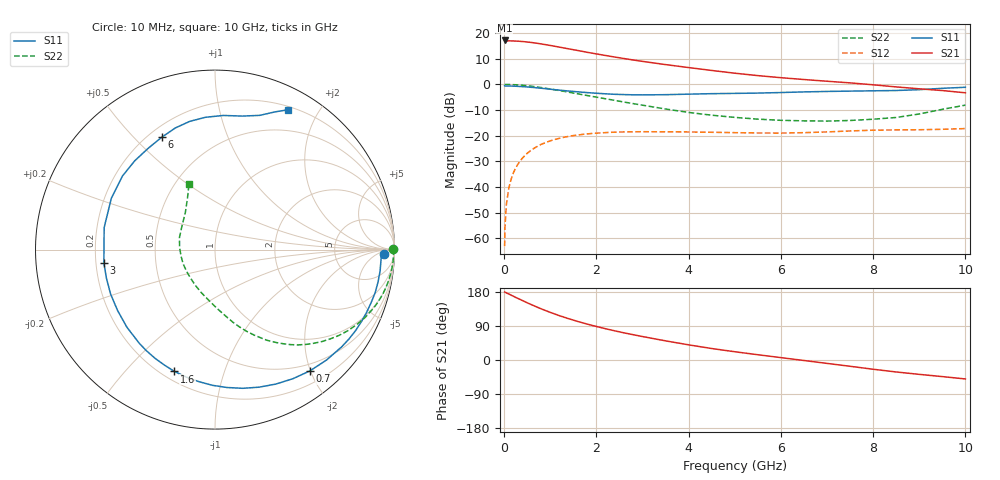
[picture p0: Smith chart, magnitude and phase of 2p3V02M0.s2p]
! (c) 2009  Infineon Technologies AG, Munich
! Infineon Technologies  Discrete & RF Semiconductors
! BFP420
! VCE =  3.0 V,  IC =  2.0 mA
! Common Emitter S-Parameters:  Nov 2009
# GHz  S  MA  R  50
!  f  S11  S21  S12  S22
! GHz  MAG  ANG  MAG  ANG  MAG  ANG  MAG  ANG
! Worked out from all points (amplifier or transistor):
!   46 points, 10 MHz to 10 GHz, reference 50 ohm
!   highest |S21| = 17.1 dB at 10 MHz (marker M1)
!   |S21| within 3 dB of that: start of sweep to 1.318 GHz
!   unconditionally stable (mu >= 1): 3.918 GHz to end of sweep
!   at 300 MHz: K = 0.04, MSG = 24.0 dB, |S12| = -31.1 dB
!   at 1.7 GHz: K = 0.35, MSG = 16.2 dB, |S12| = -19.5 dB
!   at 10 GHz: K = 1.22, MAG = 4.2 dB, |S12| = -17.2 dB
!   lowest NFmin = 0.53 dB at 900 MHz
!   S11 on the Smith chart (normalised r, x): 10 MHz: 28, -11; 700 MHz: 0.39, -1.99; 1.6 GHz: 0.25, -0.69; 3 GHz: 0.23, -0.06; 6 GHz: 0.25, +0.61; 10 GHz: 0.24, +1.62
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0.01  0.9409 -1.4  7.183 179.2  0.0007 71.6  0.9945 0.1
0.02  0.9275 -1.6  6.99 179.0  0.0018 82.2  0.9948 -0.8
0.05  0.9267 -3.7  7.024 177.0  0.0047 86.4  0.9949 -2.0
0.15  0.9261 -11.3  7.048 171.2  0.0141 83.4  0.9907 -6.3
0.3  0.914 -22.7  6.954 162.4  0.0279 77.1  0.9753 -12.5
0.45  0.8974 -33.7  6.777 153.9  0.0411 70.8  0.9506 -18.5
0.7  0.8582 -51.9  6.361 140.3  0.0605 60.9  0.8933 -27.9
0.9  0.8225 -65.6  5.945 130.3  0.0735 53.6  0.84 -34.7
1.1  0.7881 -78.7  5.527 121.3  0.0843 47.1  0.7847 -40.8
1.4  0.7408 -97.1  4.926 108.9  0.0969 38.4  0.7034 -49.0
1.6  0.7154 -108.4  4.565 101.5  0.1031 33.4  0.6529 -53.6
1.7  0.702 -113.8  4.397 98.2  0.1058 31.0  0.6293 -55.8
2.2  0.6542 -138.6  3.656 82.5  0.1148 21.0  0.5239 -65.4
2.6  0.6323 -156.9  3.189 71.6  0.1183 14.2  0.4521 -72.4
3  0.6237 -173.1  2.807 61.9  0.1194 8.8  0.3927 -78.8
3.5  0.6296 168.8  2.43 50.5  0.1189 3.3  0.3308 -87.5
4.5  0.6588 141.5  1.868 30.3  0.1164 -4.2  0.2505 -108.1
5.5  0.6763 123.3  1.482 13.9  0.1128 -7.9  0.2099 -130.3
6  0.6931 115.2  1.35 6.3  0.1123 -8.5  0.1991 -143.1
7  0.728 101.2  1.151 -9.0  0.1183 -9.8  0.1925 -169.4
8.5  0.7591 78.5  0.892 -31.6  0.1293 -17.1  0.2261 144.5
10  0.878 62.5  0.685 -50.0  0.1375 -21.6  0.3938 111.6
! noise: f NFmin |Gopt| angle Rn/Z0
0.9  0.53  0.47  33  0.22
1.8  1.03  0.29  77  0.17
2.4  1.13  0.31  102  0.16
3  1.32  0.31  136  0.12
4  1.57  0.37  -168  0.1
5  1.96  0.42  -129  0.28
6  2.72  0.51  -111  0.37
